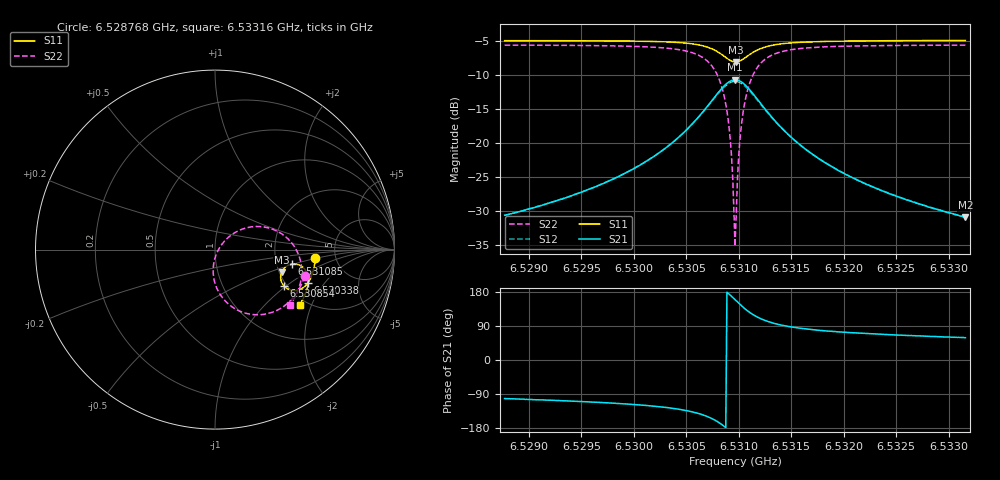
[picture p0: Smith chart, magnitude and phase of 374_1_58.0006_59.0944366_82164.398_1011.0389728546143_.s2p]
#  HZ  S  RI  R  50.00
! Rohde & Schwarz Vector Network Analyzer
! Rohde-Schwarz,ZNB20-2Port,1311601062101988,3.16
! Created: UTC 3/21/2024, 1:07:02 AM
! freq[Hz]  re:S11  im:S11  re:S21  im:S21  re:S12  im:S12  re:S22  im:S22
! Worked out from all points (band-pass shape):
!   401 points, 6.528768 GHz to 6.53316 GHz, reference 50 ohm
!   highest |S21| = -10.75 dB at 6.530964 GHz (marker M1); lowest = -30.9 dB at 6.53316 GHz (marker M2)
!   |S21| within 3 dB of the highest: 6.530746 GHz to 6.531185 GHz (438.3 kHz wide, 0.00671 % of centre)
!   lowest |S11| = -8.1 dB at 6.530975 GHz (marker M3), VSWR 2.29, Z = 103 - j30.5 ohm
!   |S11| at or under -10 dB: nowhere
!   |S22| runs from -35.1 to -5.7 dB; largest |S21 - S12| = 0.011
!   S11 on the Smith chart (normalised r, x): 6.528768 GHz: 3.49, -0.46; 6.530338 GHz: 2.59, -1.39; 6.530854 GHz: 1.93, -0.97; 6.531085 GHz: 2.42, -0.48; 6.53316 GHz: 1.82, -1.65
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6.5287683e9  0.5595 -0.0452  -0.00604 -0.0289  -0.00649 -0.0286  0.4993 -0.1484
6.5295039e9  0.5504 -0.1055  -0.0148 -0.0411  -0.0157 -0.0408  0.4708 -0.2152
6.5302394e9  0.5235 -0.1765  -0.0462 -0.0707  -0.0481 -0.0695  0.3939 -0.308
6.5303382e9  0.5158 -0.188  -0.057 -0.0775  -0.0592 -0.076  0.371 -0.3242
6.5306895e9  0.4528 -0.2275  -0.1533 -0.0958  -0.1555 -0.0898  0.188 -0.3585
6.5307883e9  0.4138 -0.2231  -0.2138 -0.0726  -0.2134 -0.064  0.0846 -0.3114
6.5308542e9  0.3848 -0.2033  -0.2571 -0.0285  -0.2529 -0.0192  0.0172 -0.2302
6.5309091e9  0.368 -0.1722  -0.2789 0.0317  -0.2711 0.0393  -0.0102 -0.1262
6.5309201e9  0.3665 -0.1647  -0.28 0.0457  -0.2717 0.0527  -0.00994 -0.1029
6.530953e9  0.3666 -0.1411  -0.2753 0.0893  -0.2657 0.0936  0.00483 -0.0323
6.530964e9  0.3685 -0.1332  -0.271 0.1032  -0.2611 0.1069  0.0144 -0.00986
6.5309749e9  0.3711 -0.1255  -0.2648 0.1168  -0.2551 0.1195  0.0262 0.0117
6.5309859e9  0.3746 -0.1185  -0.2578 0.1298  -0.2481 0.1316  0.0399 0.0317
6.5310079e9  0.3835 -0.1053  -0.24 0.1529  -0.2309 0.153  0.0726 0.0669
6.5310189e9  0.3889 -0.0998  -0.2299 0.1629  -0.2211 0.1623  0.0907 0.0816
6.5310518e9  0.4071 -0.0873  -0.1964 0.1852  -0.1891 0.1831  0.1499 0.1133
6.5310847e9  0.4264 -0.0811  -0.1617 0.1969  -0.1562 0.1942  0.2093 0.1274
6.5311616e9  0.4652 -0.0844  -0.0934 0.1952  -0.0904 0.1925  0.3244 0.1122
6.5312714e9  0.4979 -0.107  -0.0357 0.1652  -0.0342 0.1638  0.4182 0.0477
6.5316995e9  0.5197 -0.1831  0.0142 0.0817  0.0151 0.0813  0.4831 -0.1296
6.532435e9  0.4995 -0.2555  0.0169 0.0388  0.0173 0.0388  0.4555 -0.2451
6.5331596e9  0.4713 -0.3085  0.0147 0.0244  0.0151 0.0242  0.4203 -0.3074
